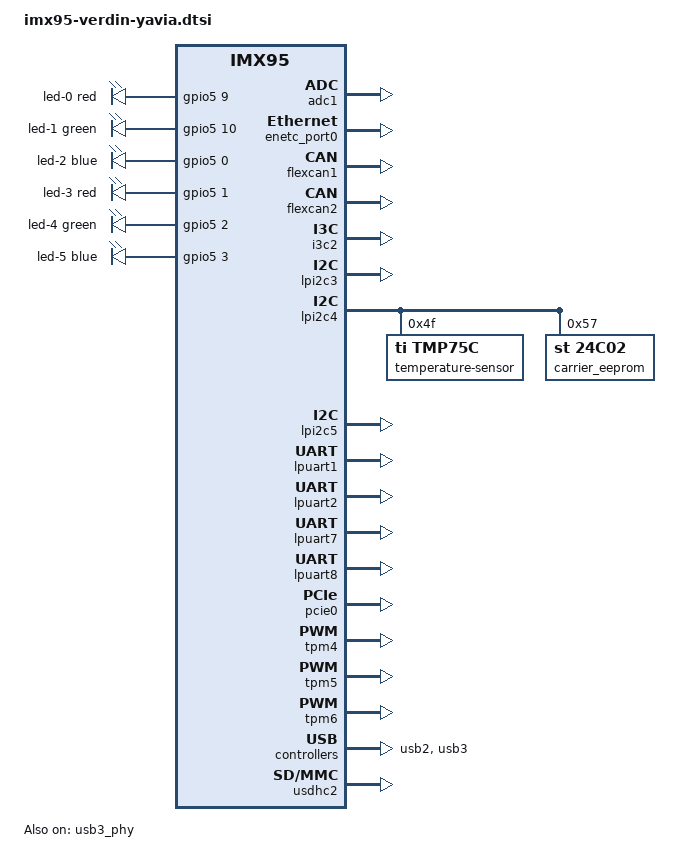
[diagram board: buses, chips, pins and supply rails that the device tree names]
// SPDX-License-Identifier: GPL-2.0-or-later OR MIT
/*
 * Copyright (c) Toradex
 *
 * Common dtsi for Verdin iMX95 SoM on Yavia carrier board
 *
 * https://www.toradex.com/computer-on-modules/verdin-arm-family/nxp-imx95
 * https://www.toradex.com/products/carrier-board/yavia
 */

#include <dt-bindings/leds/common.h>

/ {
	aliases {
		eeprom1 = &carrier_eeprom;
	};

	leds {
		compatible = "gpio-leds";
		pinctrl-names = "default";
		pinctrl-0 = <&pinctrl_qspi1_clk_gpio>,
			    <&pinctrl_qspi1_cs_gpio>,
			    <&pinctrl_qspi1_io0_gpio>,
			    <&pinctrl_qspi1_io1_gpio>,
			    <&pinctrl_qspi1_io2_gpio>,
			    <&pinctrl_qspi1_io3_gpio>;

		/* SODIMM 52 - LD1_RED */
		led-0 {
			color = <LED_COLOR_ID_RED>;
			function = LED_FUNCTION_DEBUG;
			function-enumerator = <1>;
			gpios = <&gpio5 9 GPIO_ACTIVE_HIGH>;
		};
		/* SODIMM 54 - LD1_GREEN */
		led-1 {
			color = <LED_COLOR_ID_GREEN>;
			function = LED_FUNCTION_DEBUG;
			function-enumerator = <1>;
			gpios = <&gpio5 10 GPIO_ACTIVE_HIGH>;
		};
		/* SODIMM 56 - LD1_BLUE */
		led-2 {
			color = <LED_COLOR_ID_BLUE>;
			function = LED_FUNCTION_DEBUG;
			function-enumerator = <1>;
			gpios = <&gpio5 0 GPIO_ACTIVE_HIGH>;
		};
		/* SODIMM 58 - LD2_RED */
		led-3 {
			color = <LED_COLOR_ID_RED>;
			function = LED_FUNCTION_DEBUG;
			function-enumerator = <2>;
			gpios = <&gpio5 1 GPIO_ACTIVE_HIGH>;
		};
		/* SODIMM 60 - LD2_GREEN */
		led-4 {
			color = <LED_COLOR_ID_GREEN>;
			function = LED_FUNCTION_DEBUG;
			function-enumerator = <2>;
			gpios = <&gpio5 2 GPIO_ACTIVE_HIGH>;
		};
		/* SODIMM 62 - LD2_BLUE */
		led-5 {
			color = <LED_COLOR_ID_BLUE>;
			function = LED_FUNCTION_DEBUG;
			function-enumerator = <2>;
			gpios = <&gpio5 3 GPIO_ACTIVE_HIGH>;
		};
	};
};

/* Verdin ADC_1, ADC_2, ADC_3 and ADC_4 */
&adc1 {
	status = "okay";
};

/* Verdin ETH_1 (On-module PHY) */
&enetc_port0 {
	status = "okay";
};

/* Verdin CAN_1 */
&flexcan1 {
	status = "okay";
};

/* Verdin CAN_2 */
&flexcan2 {
	status = "okay";
};

&gpio1 {
	pinctrl-names = "default";
	pinctrl-0 = <&pinctrl_ctrl_sleep_moci>;
};

&gpio2 {
	pinctrl-names = "default";
	pinctrl-0 = <&pinctrl_gpio1>,
		    <&pinctrl_gpio2>,
		    <&pinctrl_gpio3>;
};

&gpio3 {
	pinctrl-names = "default";
	pinctrl-0 = <&pinctrl_gpio6>;
};

&gpio4 {
	pinctrl-names = "default";
	pinctrl-0 = <&pinctrl_gpio5>;
};

&gpio5 {
	pinctrl-names = "default";
	pinctrl-0 = <&pinctrl_gpio4>,
		    <&pinctrl_qspi1_cs2_gpio>,
		    <&pinctrl_qspi1_dqs_gpio>;
};

/* Verdin I2C_3_HDMI */
&i3c2 {
	status = "okay";
};

/* Verdin I2C_2_DSI */
&lpi2c3 {
	status = "okay";
};

/* Verdin I2C_1 */
&lpi2c4 {
	status = "okay";

	temperature-sensor@4f {
		compatible = "ti,tmp75c";
		reg = <0x4f>;
	};

	carrier_eeprom: eeprom@57 {
		compatible = "st,24c02", "atmel,24c02";
		reg = <0x57>;
		pagesize = <16>;
	};
};

/* Verdin I2C_4_CSI */
&lpi2c5 {
	status = "okay";
};

/* Verdin UART_3, used as the Linux console */
&lpuart1 {
	status = "okay";
};

/* Verdin UART_4 */
&lpuart2 {
	status = "okay";
};

/* Verdin UART_1 */
&lpuart7 {
	status = "okay";
};

/* Verdin UART_2 */
&lpuart8 {
	status = "okay";
};

/* Verdin PCIE_1 */
&pcie0 {
	status = "okay";
};

/* Verdin PWM_1 */
&tpm4 {
	status = "okay";
};

/* Verdin PWM_2 */
&tpm5 {
	status = "okay";
};

/* Verdin PWM_3_DSI */
&tpm6 {
	status = "okay";
};

/* Verdin USB_1 */
&usb2 {
	status = "okay";
};

/* Verdin USB_2 */
&usb3 {
	fsl,permanently-attached;

	status = "okay";
};

&usb3_phy {
	status = "okay";
};

/* Verdin SD_1 */
&usdhc2 {
	status = "okay";
};

/* Verdin CTRL_WAKE1_MICO# */
&verdin_gpio_keys {
	status = "okay";
};
